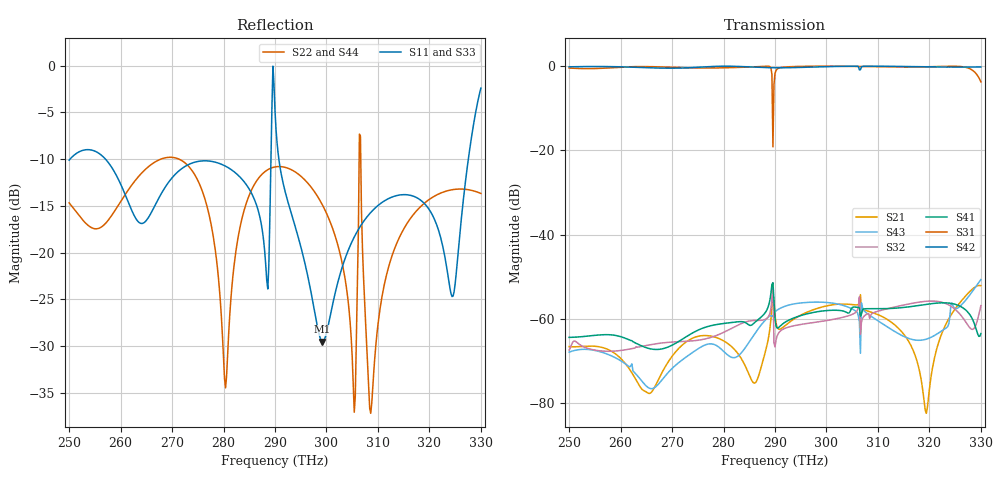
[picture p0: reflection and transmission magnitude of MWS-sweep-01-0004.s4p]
! TOUCHSTONE file generated by CST MICROWAVE STUDIO
! Date and time: Sun Sep 21 00:09:52 2025
! Project name: biblioteca3.cst
! Parameters = {t_sub=1000; t_air=1000; k=0; n=0; wavelength_nm=0; H=600; Lx=200; Ly=260; P=520}
! Header version: 2018
! Port assignment regex: !\s*Touchstone port\s*([0-9]+)\s*=\s*(CST MWS port|CST DS port)\s*([0-9]+|Zmin|Zmax)\s*\(\"(.*)\"\)(\s*mode\s*([0-9]+))?.*
! Touchstone port assignment:
! Touchstone port 1 = CST MWS port Zmin ("") mode 1
! Touchstone port 2 = CST MWS port Zmin ("") mode 2
! Touchstone port 3 = CST MWS port Zmax ("") mode 1
! Touchstone port 4 = CST MWS port Zmax ("") mode 2
! S-Parameters are not renormalized. Unphysical impedance of 50 will be written to the file.
# GHz S RI R 50
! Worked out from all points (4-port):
!   401 points, 250 THz to 330 THz, reference per port
!   strongest paths, dB at 250 THz, 270 THz, 290 THz, 310 THz, 330 THz:
!     S42: -0.2, -0.5, -0.4, 0.0, -0.2
!     S31: -0.4, -0.3, -1.7, -0.1, -3.7
!     S41: -64.4, -66.2, -59.8, -57.6, -63.5
!     S32: -67.4, -65.5, -66.6, -58.2, -56.9
!     S43: -67.9, -71.8, -58.3, -60.5, -50.7
!     S21: -66.6, -68.9, -59.1, -59.0, -52.1
!   lowest |S11| = -29.5 dB at 299.2 THz (marker M1), VSWR 1.07
!   |S11| at or under -10 dB: start of sweep to 250.1627 THz; 257.1 THz to 289.2 THz (32.15 THz wide, 11.8 % of centre); 290.8 THz to 327.6 THz (36.81 THz wide, 11.9 % of centre)
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250000  -0.3114 -0.0268  0.000312 0.000275  0.7267 -0.6117  4.28e-05 0.000645
        0.000388 0.000265  -0.0885 0.1623  -0.000188 0.00055  0.5762 0.796
        0.7266 -0.6116  -0.000127 0.000408  0.0268 -0.3114  -0.000334 0.000207
        0.000132 0.000589  0.5761 0.7961  -0.00032 0.000245  -0.1818 0.0334
268400  -0.0615 0.2093  0.000338 -9.81e-05  0.0259 0.9758  -0.000277 -0.000391
        0.00024 -8.14e-05  0.0504 0.3163  6.51e-05 -0.000407  -0.579 -0.7498
        0.0254 0.9763  4.92e-06 -0.000521  -0.0725 -0.2058  -0.000183 -1.3e-05
        -0.000272 -0.000353  -0.579 -0.7498  -0.000196 -4.71e-05  -0.2932 -0.1287
279000  0.2424 0.1791  -0.000303 -0.00041  0.9082 -0.2904  -0.000388 0.000767
        -0.000302 -0.000505  0.0703 -0.0225  -0.000585 0.000381  -0.1156 0.9906
        0.9084 -0.2905  -0.000492 0.000425  -0.0935 0.2865  0.000349 0.000174
        -0.000318 0.000804  -0.1155 0.9904  0.000446 0.00014  0.0632 0.0381
286600  0.1588 -0.0691  -0.000119 -0.000251  0.0446 -0.984  0.000717 0.000693
        -3.55e-05 -0.00019  0.1402 0.2021  0.000698 0.000759  0.9636 -0.1051
        0.0444 -0.984  0.000713 0.000643  0.152 0.0831  -0.000656 6.3e-05
        0.000773 0.000583  0.9635 -0.1054  -0.000744 2.59e-05  -0.0933 0.2276
299200  0.0327 -0.00707  -0.00135 0.000246  -0.9883 0.1488  0.000144 -0.00122
        -0.00136 0.000297  0.1031 -0.148  0.000297 -0.000943  -0.7881 -0.5883
        -0.9884 0.1485  0.000342 -0.000874  -0.0334 0.00291  0.00122 0.000939
        0.0002 -0.00123  -0.7885 -0.5886  0.00128 0.000919  0.1126 -0.1409
313400  0.1853 -0.0785  0.000504 0.000552  0.5479 0.8113  -0.00125 0.000607
        0.000595 0.000587  0.1057 0.022  -0.00143 0.000101  0.0242 0.9941
        0.5477 0.8107  -0.00139 6.55e-06  0.1419 -0.1427  0.00051 -0.000605
        -0.00125 0.000485  0.0241 0.9943  0.000519 -0.000471  0.1046 -0.0268
330000  0.6874 -0.3206  0.00198 0.00171  -0.4436 -0.4774  0.000262 0.000464
        0.00189 0.00161  0.0613 -0.1982  -9.76e-05 0.00134  0.6436 -0.7367
        -0.4437 -0.4772  -0.000224 0.00142  0.3699 -0.6622  0.00273 -0.00183
        0.00057 0.000352  0.6436 -0.7368  0.00225 -0.00188  -0.1882 0.0873
